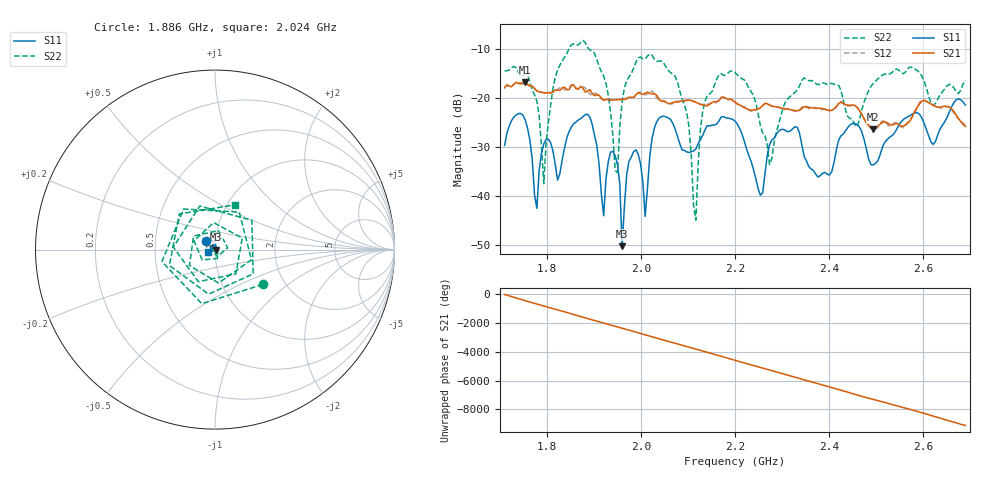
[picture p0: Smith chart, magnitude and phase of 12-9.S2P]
!Agilent Technologies,E5061B,MY49305579,A.02.22
!Date: Thu Aug 24 16:23:43 2017
!Data & Calibration Information:
!Freq	S11:SOLT2(ON)	S21:SOLT2(ON)	S12:SOLT2(ON)	S22:SOLT2(ON)
# Hz S dB R 50
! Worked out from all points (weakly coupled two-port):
!   201 points, 1.71 GHz to 2.69 GHz, reference 50 ohm
!   highest |S21| = -16.78 dB at 1.754 GHz (marker M1); lowest = -26.3 dB at 2.494 GHz (marker M2)
!   lowest |S11| = -50.2 dB at 1.96 GHz (marker M3), VSWR 1.01, Z = 50.3 + j0.00519 ohm
!   |S11| at or under -10 dB: start of sweep to end of sweep
!   |S22| runs from -44.9 to -8.2 dB; largest |S21 - S12| = 0.014
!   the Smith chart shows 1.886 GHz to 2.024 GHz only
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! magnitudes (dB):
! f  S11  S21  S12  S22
! 1.71 GHz  -29.7  -17.9  -17.6  -14.5
! 1.754 GHz  -24.5  -16.8  -17.2  -14.9
! 1.779 GHz  -42.5  -18.5  -18.5  -20.6
! 1.793 GHz  -29.4  -18.9  -18.9  -37.5
! 1.818 GHz  -33.6  -18.3  -18.7  -15.7
! 1.877 GHz  -23.8  -18.0  -17.7  -8.2
! 1.921 GHz  -44.0  -20.4  -20.4  -15.5
! 1.945 GHz  -31.7  -20.3  -20.3  -34.8
! 1.96 GHz  -50.2  -20.2  -20.4  -20.7
! 1.975 GHz  -32.9  -19.8  -19.8  -15.7
! 2.009 GHz  -44.1  -19.0  -19.4  -12.0
! 2.038 GHz  -24.1  -20.2  -20.5  -12.4
! 2.097 GHz  -31.0  -20.4  -20.5  -22.8
! 2.117 GHz  -30.4  -20.9  -20.9  -44.9
! 2.136 GHz  -26.5  -21.5  -21.3  -20.6
! 2.2 GHz  -24.7  -20.8  -20.7  -14.8
! 2.254 GHz  -39.8  -22.0  -21.9  -25.6
! 2.273 GHz  -29.5  -21.4  -21.4  -33.5
! 2.367 GHz  -34.8  -22.0  -21.9  -16.5
! 2.494 GHz  -33.6  -26.3  -26.3  -17.0
! 2.528 GHz  -28.0  -25.3  -25.7  -15.0
! 2.69 GHz  -21.4  -25.8  -25.5  -16.4
